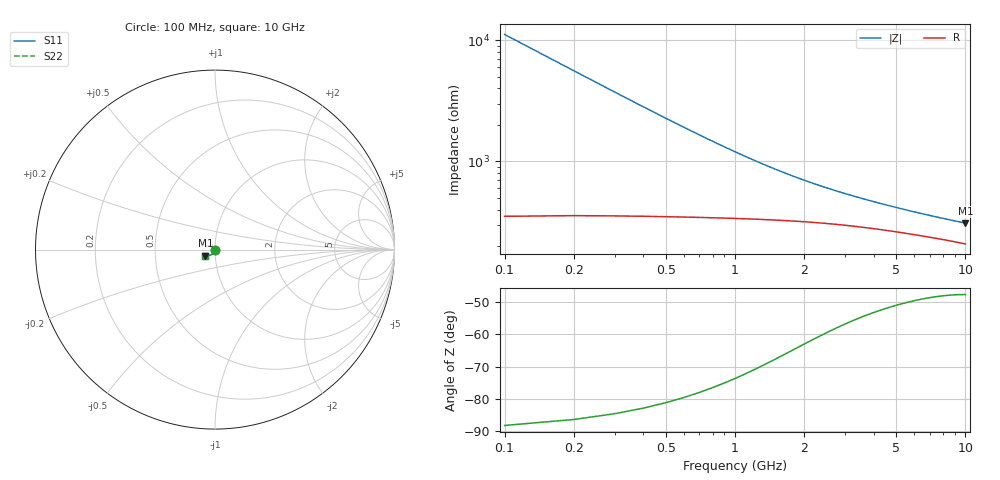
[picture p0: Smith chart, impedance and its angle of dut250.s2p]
! Touchstone file exported from HFSS 2024.1.0
!  File:  C:/UserFiles/LocalFiles/RDL_TSV_Batchsim/temp_TSV1_250_1778769052.aedt
!  Generated:  10:35:19 PM May 14, 2026
!  Design:  TSV1
!  Project:  temp_TSV1_250_1778769052
!  Setup:  Setup1
!  Solution:  Sweep
! Variables:
!  dtsv = 21.28um
!  hbump = 3um
!  htsv = 55.21um
!  lrdl = 252.1521522um
!  p = 40
!  p1 = 55.54um
!  t = 500um
!  trdl = 3um
!  wrdl = 24.89489489um
# GHz S MA R 50.000000
! Terminal data exported
! Port[1] = TSV22_T1
! Port[2] = TSV22_T2
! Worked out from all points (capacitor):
!   100 points, 100 MHz to 10 GHz, reference 50 ohm
!   read as one part in shunt: C = 143 fF near 100 MHz
!   lowest |Z| = 309 ohm at 10 GHz (marker M1)
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0.1  0.001996 -90.3  0.9999 -0.1  0.9999 -0.1  0.001996 -90.3
! Gamma 0 0 0 0
! Port Impedance 50 0 50 0
0.2  0.003986 -93.3  0.9996 -0.3  0.9996 -0.3  0.003986 -93.3
0.3  0.005961 -95.6  0.9993 -0.4  0.9993 -0.4  0.005961 -95.6
0.4  0.00791 -97.7  0.9987 -0.6  0.9987 -0.6  0.00791 -97.7
0.5  0.009822 -99.7  0.9981 -0.7  0.9981 -0.7  0.009822 -99.7
0.6  0.01169 -101.6  0.9974 -0.8  0.9974 -0.8  0.01169 -101.6
0.7  0.0135 -103.5  0.9966 -0.9  0.9966 -0.9  0.0135 -103.5
0.8  0.01526 -105.3  0.9957 -1.0  0.9957 -1.0  0.01526 -105.3
0.9  0.01696 -107.0  0.9947 -1.2  0.9947 -1.2  0.01696 -107.0
1.1  0.02016 -110.3  0.9927 -1.4  0.9927 -1.4  0.02016 -110.3
1.4  0.02447 -114.7  0.9895 -1.6  0.9895 -1.6  0.02447 -114.7
1.6  0.02704 -117.3  0.9874 -1.8  0.9874 -1.8  0.02704 -117.3
1.8  0.02938 -119.7  0.9853 -1.9  0.9853 -1.9  0.02938 -119.7
2.1  0.03252 -122.8  0.9823 -2.1  0.9823 -2.1  0.03252 -122.8
2.5  0.03611 -126.3  0.9786 -2.3  0.9786 -2.3  0.03611 -126.3
2.9  0.03917 -129.2  0.9753 -2.5  0.9753 -2.5  0.03917 -129.2
3.4  0.04245 -132.1  0.9716 -2.7  0.9716 -2.7  0.04245 -132.1
4.2  0.04679 -135.8  0.9666 -2.9  0.9666 -2.9  0.04679 -135.8
5.1  0.05075 -138.8  0.962 -3.2  0.962 -3.2  0.05075 -138.8
6.7  0.05619 -142.8  0.9556 -3.6  0.9556 -3.6  0.05619 -142.8
8.4  0.06048 -145.6  0.9505 -4.0  0.9505 -4.0  0.06048 -145.6
10  0.0636 -147.5  0.9468 -4.4  0.9468 -4.4  0.0636 -147.5
